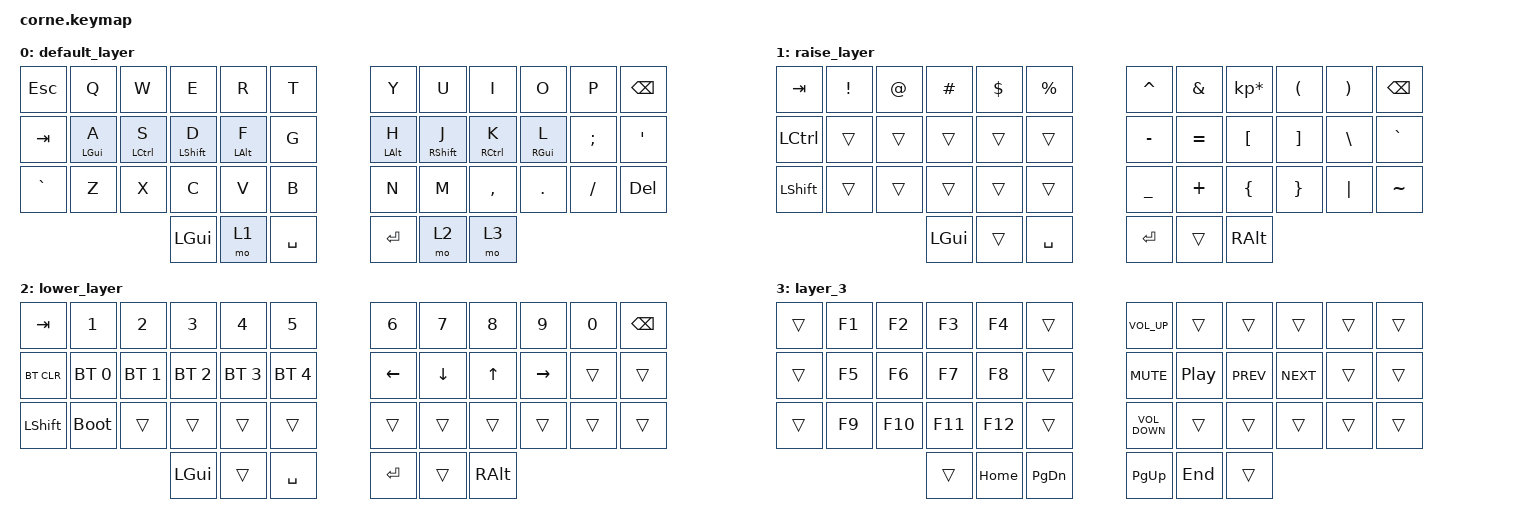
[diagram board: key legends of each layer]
/*
 * Copyright (c) 2020 The ZMK Contributors
 *
 * SPDX-License-Identifier: MIT
 */

#include <behaviors.dtsi>
#include <dt-bindings/zmk/bt.h>
#include <dt-bindings/zmk/keys.h>

/ {
    keymap {
        compatible = "zmk,keymap";

        default_layer {
            // -----------------------------------------------------------------------------------------
            // |  TAB |  Q  |  W  |  E  |  R  |  T  |   |  Y  |  U   |  I  |  O  |  P  | BKSP |
            // | CTRL |  A  |  S  |  D  |  F  |  G  |   |  H  |  J   |  K  |  L  |  ;  |  '   |
            // | SHFT |  Z  |  X  |  C  |  V  |  B  |   |  N  |  M   |  ,  |  .  |  /  | ESC  |
            //                    | GUI | LWR | SPC |   | ENT | RSE  | ALT |

            bindings = <
&kp ESCAPE  &kp Q           &kp W        &kp E        &kp R           &kp T        &kp Y       &kp U              &kp I                &kp O       &kp P     &kp BSPC
&kp TAB     &mt LEFT_GUI A  &mt LCTRL S  &mt LSHFT D  &mt LEFT_ALT F  &kp G        &mt LALT H  &mt RIGHT_SHIFT J  &mt RIGHT_CONTROL K  &mt RGUI L  &kp SEMI  &kp SQT
&kp GRAVE   &kp Z           &kp X        &kp C        &kp V           &kp B        &kp N       &kp M              &kp COMMA            &kp DOT     &kp FSLH  &kp DELETE
                                         &kp LGUI     &mo 1           &kp SPACE    &kp RET     &mo 2              &mo 3
            >;
        };

        raise_layer {
            // -----------------------------------------------------------------------------------------
            // |  TAB |  !  |  @  |  #  |  $  |  %  |   |  ^  |  &  |  *  |  (  |  )  | BKSP |
            // | CTRL |     |     |     |     |     |   |  -  |  =  |  [  |  ]  |  \  |  `   |
            // | SHFT |     |     |     |     |     |   |  _  |  +  |  {  |  }  | "|" |  ~   |
            //                    | GUI |     | SPC |   | ENT |     | ALT |

            bindings = <
&kp TAB    &kp EXCL  &kp AT  &kp HASH  &kp DLLR  &kp PRCNT    &kp CARET  &kp AMPS   &kp KP_MULTIPLY  &kp LPAR  &kp RPAR  &kp BSPC
&kp LCTRL  &trans    &trans  &trans    &trans    &trans       &kp MINUS  &kp EQUAL  &kp LBKT         &kp RBKT  &kp BSLH  &kp GRAVE
&kp LSHFT  &trans    &trans  &trans    &trans    &trans       &kp UNDER  &kp PLUS   &kp LBRC         &kp RBRC  &kp PIPE  &kp TILDE
                             &kp LGUI  &trans    &kp SPACE    &kp RET    &trans     &kp RALT
            >;
        };

        lower_layer {
            // -----------------------------------------------------------------------------------------
            // |  TAB |  1  |  2  |  3  |  4  |  5  |   |  6  |  7  |  8  |  9  |  0  | BKSP |
            // | BTCLR| BT1 | BT2 | BT3 | BT4 | BT5 |   | LFT | DWN |  UP | RGT |     |      |
            // | SHFT |     |     |     |     |     |   |     |     |     |     |     |      |
            //                    | GUI |     | SPC |   | ENT |     | ALT |

            bindings = <
&kp TAB     &kp N1        &kp N2        &kp N3        &kp N4        &kp N5          &kp N6    &kp N7    &kp N8    &kp N9     &kp N0  &kp BSPC
&bt BT_CLR  &bt BT_SEL 0  &bt BT_SEL 1  &bt BT_SEL 2  &bt BT_SEL 3  &bt BT_SEL 4    &kp LEFT  &kp DOWN  &kp UP    &kp RIGHT  &trans  &trans
&kp LSHFT   &bootloader   &trans        &trans        &trans        &trans          &trans    &trans    &trans    &trans     &trans  &trans
                                        &kp LGUI      &trans        &kp SPACE       &kp RET   &trans    &kp RALT
            >;
        };

        layer_3 {
            bindings = <
&trans  &kp F1  &kp F2   &kp F3   &kp F4    &trans       &kp C_VOLUME_UP    &trans            &trans      &trans      &trans  &trans
&trans  &kp F5  &kp F6   &kp F7   &kp F8    &trans       &kp K_MUTE         &kp C_PLAY_PAUSE  &kp C_PREV  &kp C_NEXT  &trans  &trans
&trans  &kp F9  &kp F10  &kp F11  &kp F12   &trans       &kp C_VOLUME_DOWN  &trans            &trans      &trans      &trans  &trans
                         &trans   &kp HOME  &kp PG_DN    &kp PG_UP          &kp END           &trans
            >;
        };
    };
};
